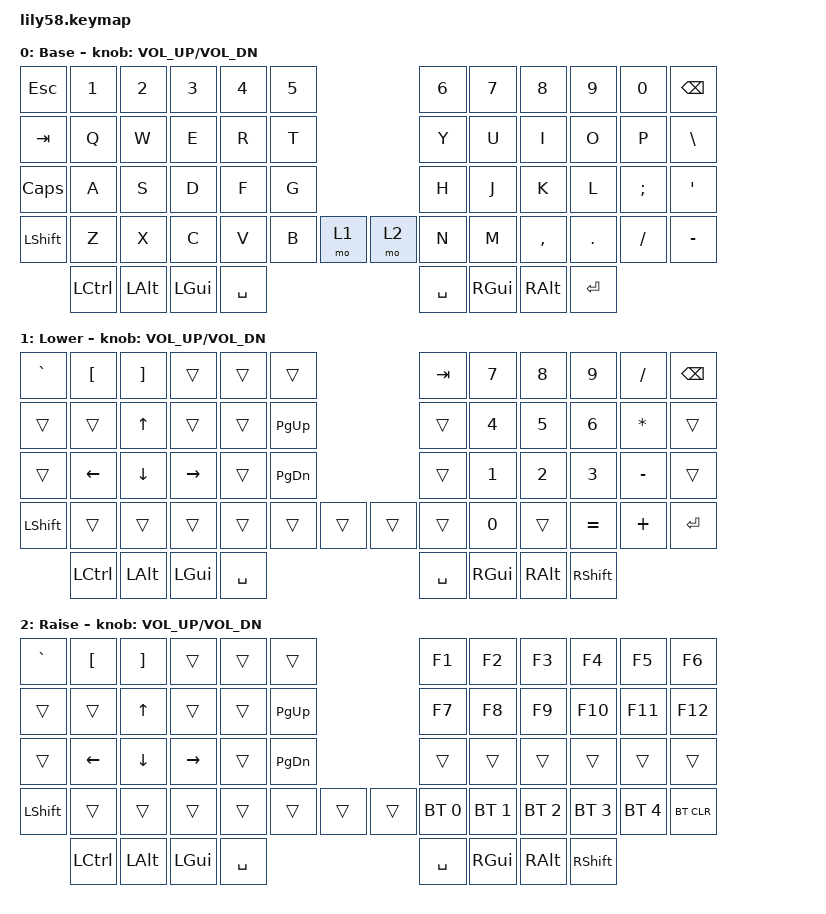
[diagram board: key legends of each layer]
/*
 * Copyright (c) 2020 The ZMK Contributors
 *
 * SPDX-License-Identifier: MIT
 */

#include <behaviors.dtsi>
#include <dt-bindings/zmk/keys.h>
#include <dt-bindings/zmk/bt.h>
#include <dt-bindings/zmk/ext_power.h>

/ {
    keymap {
        compatible = "zmk,keymap";

        default_layer {
// ------------------------------------------------------------------------------------------------------------
// |   1   |  2  |  3  |  4   |  5   |  6   |                   |  7   |  8    |  9    |  0   | [ {   |  ] }  |
// |  TAB  |  Q  |  W  |  E   |  R   |  T   |                   |  Y   |  U    |  I    |  O   |   P   | - _   |
// |  CAPS |  A  |  S  |  D   |  F   |  G   |                   |  H   |  J    |  K    |  L   |   ;   |   '   |
// | SHIFT |  Z  |  X  |  C   |  V   |  B   |  LOWER |  | RAISE |  N   |  M    |  ,    |  .   |   /   | SHIFT |
//                     | CTRL  | ALT  | GUI |  BSPC  |  | SPACE | GUI | ALT    | ENTER |
            display-name = "Base";
            bindings = <
&kp ESC   &kp N1 &kp N2 &kp N3   &kp N4   &kp N5                     &kp N6 &kp N7   &kp N8    &kp N9  &kp N0      &kp BSPC
&kp TAB   &kp Q  &kp W  &kp E    &kp R    &kp T                      &kp Y  &kp U    &kp I     &kp O   &kp P       &kp BSLH
&kp CAPS  &kp A  &kp S  &kp D    &kp F    &kp G                      &kp H  &kp J    &kp K     &kp L   &kp SEMI    &kp SQT
&kp LSHFT &kp Z  &kp X  &kp C    &kp V    &kp B  &mo 1        &mo 2  &kp N  &kp M    &kp COMMA &kp DOT &kp FSLH    &kp MINUS
          &kp LCTRL     &kp LALT   &kp LGUI      &kp SPACE     &kp SPACE     &kp RGUI   &kp RALT   &kp RET
            >;

            sensor-bindings = <&inc_dec_kp C_VOL_UP C_VOL_DN>;
        };

        lower_layer {
// ------------------------------------------------------------------------------------------------------------
// | ESC   |     |     |      |      |      |                   | TAB  |   7   |   8   |  9   | DIV   | EQUAL |
// | TAB   |     | UP  |      |      |PG UP |                   |      |   4   |   5   |  6   | MULT  |  \ |  |
// |       |LEFT |DOWN |RIGHT |      |PG DN |                   |      |   1   |   2   |  3   | SUBT  |       |
// | SHIFT |     |     |      |      |      |        |  |       |      |   0   |       |      | ADD   | GRAVE |
//                     | CTRL | ALT  | GUI  | BSPC   |  |   §   | GUI | ALT    | CTRL  |
            display-name = "Lower";
            bindings = <
&kp GRAVE          &kp LBKT           &kp RBKT        &trans       &trans     &trans                             &kp TAB     &kp N7       &kp N8       &kp N9        &kp SLASH     &kp BSPC
&trans          &trans           &kp UP        &trans       &trans     &kp PG_UP                          &trans      &kp N4       &kp N5       &kp N6        &kp STAR      &trans
&trans           &kp LEFT         &kp DOWN      &kp RIGHT    &trans     &kp PG_DN                          &trans      &kp N1       &kp N2       &kp N3        &kp MINUS     &trans
&kp LSHFT        &trans           &trans        &trans       &trans     &trans    &trans         &trans    &trans   &kp N0       &trans       &kp EQUAL        &kp PLUS      &kp RET
                                                &kp LCTRL     &kp LALT   &kp LGUI      &kp SPACE     &kp SPACE     &kp RGUI   &kp RALT   &kp RSHFT
            >;

            sensor-bindings = <&inc_dec_kp C_VOL_UP C_VOL_DN>;
        };

        raise_layer {
// ------------------------------------------------------------------------------------------------------------
// |  ESC  |      |                 |      |       |       |                   |        F1          |    F2      |     F3      |      F4      |      F5       |        F6          |
// |  TAB  |      |  UP             |      |       | PG_UP |                   |        F7          |    F8      |     F9      |      F10     |      F11      |        F12         |
// |       | LEFT | DOWN            | RIGHT|       | PG_DN |                   |                    |            |             |              |               |                    |
// | SHIFT |      |                 |      |       |       |        |  |       |    BT1     |     BT2     |      BT3     |      BT4      |        BT5         |   Clear BT     
//                                    | CTRL  | ALT  | GUI | BSPC   |  |   §   | GUI | ALT    | ENTER |
            display-name = "Raise";
            bindings = <
&kp GRAVE    &kp LBKT         &kp RBKT          &trans         &trans       &trans                            &kp F1     &kp F2         &kp F3          &kp F4        &kp F5        &kp F6
&trans    &trans         &kp UP          &trans         &trans       &kp PG_UP                         &kp F7     &kp F8         &kp F9          &kp F10       &kp F11       &kp F12
&trans     &kp LEFT       &kp DOWN        &kp RIGHT      &trans       &kp PG_DN                         &trans     &trans         &trans          &trans        &trans        &trans
&kp LSHFT  &trans         &trans          &trans         &trans       &trans    &trans        &trans    &bt BT_SEL 0   &bt BT_SEL 1    &bt BT_SEL 2  &bt BT_SEL 3  &bt BT_SEL 4  &bt BT_CLR
                                         &kp LCTRL     &kp LALT   &kp LGUI      &kp SPACE     &kp SPACE     &kp RGUI   &kp RALT   &kp RSHFT
            >;

            sensor-bindings = <&inc_dec_kp C_VOL_UP C_VOL_DN>;
        };
    };
};
